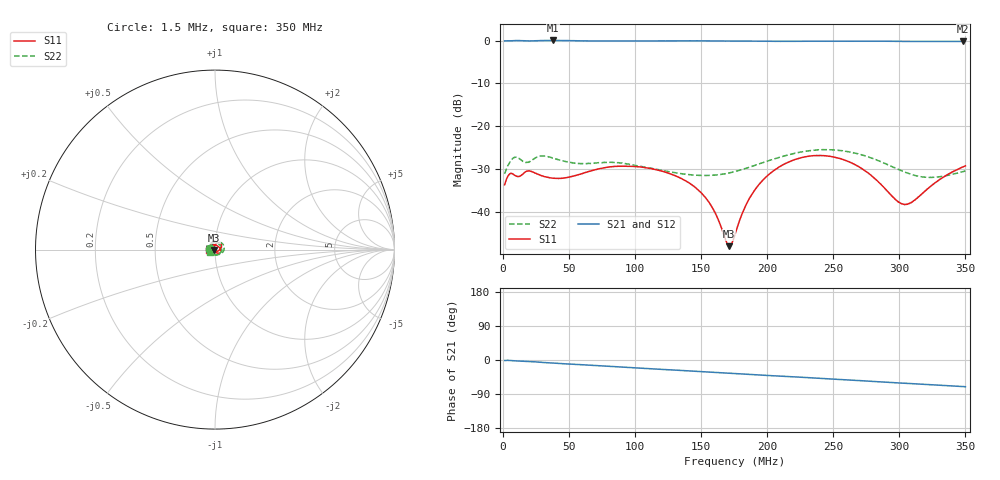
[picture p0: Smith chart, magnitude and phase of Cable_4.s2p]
# Hz S RI R 50
! RAW DATA - UNCALIBRATED
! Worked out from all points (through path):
!   1601 points, 1.5 MHz to 350 MHz, reference 50 ohm
!   highest |S21| = 0.04 dB at 37.87 MHz (marker M1); lowest = -0.2 dB at 348 MHz (marker M2)
!   group delay of S21, straight-line fit = 556 ps
!   lowest |S11| = -48.0 dB at 171.4 MHz (marker M3), VSWR 1.01, Z = 49.6 - j0.136 ohm
!   |S11| at or under -10 dB: start of sweep to end of sweep
!   |S22| runs from -32.0 to -25.5 dB; largest |S21 - S12| = 0.044
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1500000  -0.0207 0.00142  0.9919 -0.0231  0.9905 -0.0363  -0.0276 0.00233
5420625  -0.0272 0.00563  0.9948 -0.022  0.9921 -0.0292  -0.0377 0.00281
9123438  -0.0234 0.0129  1 -0.037  0.9861 -0.0378  -0.0404 0.0154
2.023188e7  -0.0131 0.0271  0.9891 -0.0706  0.9895 -0.0767  -0.0244 0.0297
3.787469e7  0.0119 0.0217  0.9944 -0.1406  0.9847 -0.1307  0.00744 0.0418
5.965594e7  0.0255 0.0113  0.9705 -0.2134  0.9705 -0.2069  0.0264 0.0254
8.622906e7  0.0331 -0.00772  0.9431 -0.3031  0.9377 -0.2911  0.0376 -0.00204
1.178119e8  0.0226 -0.0207  0.9046 -0.4076  0.9033 -0.388  0.0105 -0.0293
1.507016e8  0.00555 -0.0154  0.8528 -0.5079  0.8627 -0.4858  -0.0219 -0.0152
1.596319e8  0.00095 -0.0104  0.8358 -0.5338  0.8458 -0.5121  -0.0262 -0.00606
1.713938e8  -0.00373 -0.00137  0.811 -0.5656  0.8213 -0.5444  -0.0274 0.00773
1.7575e8  -0.00483 0.0025  0.8008 -0.5779  0.8128 -0.555  -0.0265 0.0131
1.853338e8  -0.00546 0.012  0.7809 -0.6038  0.7926 -0.5811  -0.0217 0.0245
1.973134e8  -0.00223 0.0238  0.7518 -0.6354  0.7656 -0.6119  -0.0105 0.0363
2.145206e8  0.00937 0.0359  0.713 -0.6741  0.73 -0.6504  0.0123 0.044
2.339059e8  0.0265 0.0365  0.6698 -0.7216  0.6915 -0.6988  0.0383 0.0353
2.648353e8  0.035 0.011  0.5867 -0.7897  0.6135 -0.769  0.0492 -0.0038
2.920619e8  0.0139 -0.00932  0.5051 -0.8426  0.5361 -0.8217  0.0224 -0.027
3.070909e8  -0.0017 -0.0124  0.4603 -0.8641  0.4952 -0.845  0.0041 -0.0277
3.245159e8  -0.0174 -0.0105  0.4077 -0.8903  0.4454 -0.8734  -0.0127 -0.0218
3.480397e8  -0.0332 -0.00438  0.3334 -0.9196  0.374 -0.9057  -0.0268 -0.0121
3.5e8  -0.0343 -0.0038  0.3271 -0.9229  0.3684 -0.9083  -0.0278 -0.0114
